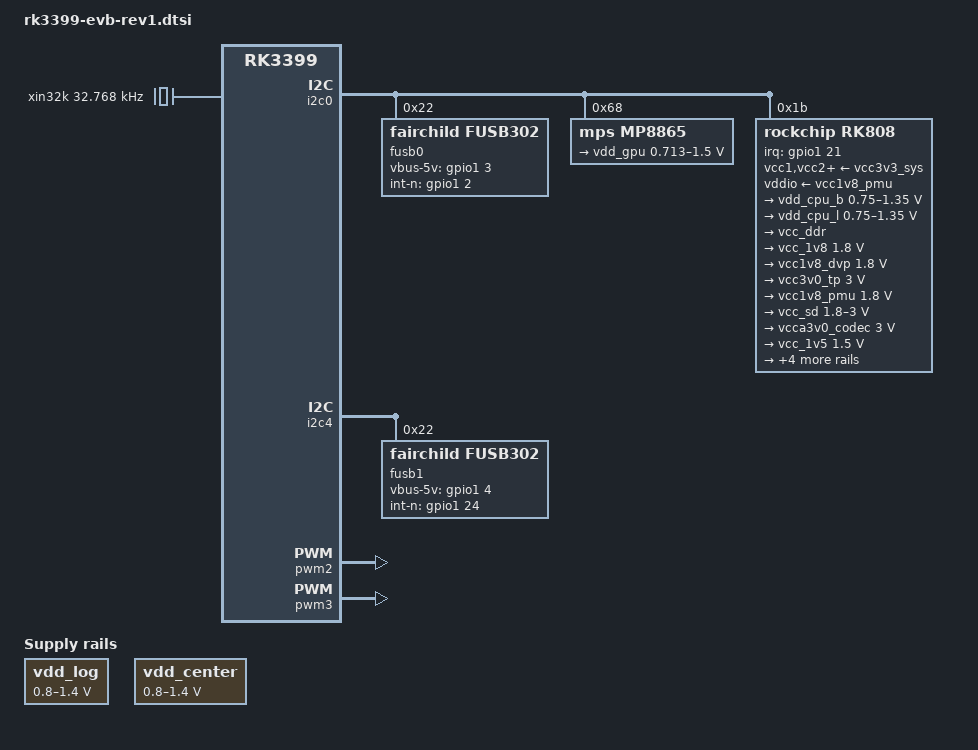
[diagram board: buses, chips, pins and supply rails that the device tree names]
// SPDX-License-Identifier: (GPL-2.0+ OR MIT)
/*
 * Copyright (c) 2022 Rockchip Electronics Co., Ltd.
 *
 */

#include "rk3399-evb.dtsi"
#include "rk3399-early-opp.dtsi"

/ {
	compatible = "rockchip,rk3399-evb-rev1", "rockchip,rk3399";

	vdd_log: vdd-log {
		compatible = "pwm-regulator";
		rockchip,pwm_id = <2>;
		rockchip,pwm_voltage = <900000>;
		pwms = <&pwm2 0 25000 1>;
		regulator-name = "vdd_log";
		regulator-min-microvolt = <800000>;
		regulator-max-microvolt = <1400000>;
		regulator-always-on;
		regulator-boot-on;
	};

	vdd_center: vdd-center {
		compatible = "pwm-regulator";
		rockchip,pwm_id = <3>;
		rockchip,pwm_voltage = <900000>;
		pwms = <&pwm3 0 25000 1>;
		regulator-name = "vdd_center";
		regulator-min-microvolt = <800000>;
		regulator-max-microvolt = <1400000>;
		regulator-always-on;
		regulator-boot-on;
	};

	xin32k: xin32k {
		compatible = "fixed-clock";
		clock-frequency = <32768>;
		clock-output-names = "xin32k";
		#clock-cells = <0>;
	};
};

&cpu_l0 {
	dynamic-power-coefficient = <121>;
};

&cpu_b0 {
	dynamic-power-coefficient = <1068>;
};

&soc_thermal {
	sustainable-power = <1600>; /* milliwatts */

	cooling-maps {
		map0 {
			trip = <&target>;
			cooling-device =
				<&cpu_l0 THERMAL_NO_LIMIT THERMAL_NO_LIMIT>;
			contribution = <10240>;
		};
		map1 {
			trip = <&target>;
			cooling-device =
				<&cpu_b0 THERMAL_NO_LIMIT THERMAL_NO_LIMIT>;
			contribution = <1024>;
		};
		map2 {
			trip = <&target>;
			cooling-device =
				<&gpu THERMAL_NO_LIMIT THERMAL_NO_LIMIT>;
			contribution = <10240>;
		};
	};
};

&gpu_power_model {
	dynamic-power = <1780>;
};

&i2c0 {
	fusb0: fusb30x@22 {
		compatible = "fairchild,fusb302";
		reg = <0x22>;
		pinctrl-names = "default";
		pinctrl-0 = <&fusb0_int>;
		vbus-5v-gpios = <&gpio1 3 GPIO_ACTIVE_HIGH>;
		int-n-gpios = <&gpio1 2 GPIO_ACTIVE_HIGH>;
		status = "okay";
	};

	mp8865: mp8865@68 {
		compatible = "mps,mp8865";
		reg = <0x68>;
		regulators {
			vdd_gpu: mp8865_dcdc1 {
				regulator-name = "vdd_gpu";
				regulator-min-microvolt = <712500>;
				regulator-max-microvolt = <1500000>;
				regulator-ramp-delay = <8000>;
				regulator-always-on;
				regulator-boot-on;
			};
		};
	};

	rk808: pmic@1b {
		compatible = "rockchip,rk808";
		reg = <0x1b>;
		interrupt-parent = <&gpio1>;
		interrupts = <21 IRQ_TYPE_LEVEL_LOW>;
		pinctrl-names = "default";
		pinctrl-0 = <&pmic_int_l &pmic_dvs2>;
		rockchip,system-power-controller;
		wakeup-source;
		#clock-cells = <1>;
		clock-output-names = "rk808-clkout1", "rk808-clkout2";

		vcc1-supply = <&vcc3v3_sys>;
		vcc2-supply = <&vcc3v3_sys>;
		vcc3-supply = <&vcc3v3_sys>;
		vcc4-supply = <&vcc3v3_sys>;
		vcc6-supply = <&vcc3v3_sys>;
		vcc7-supply = <&vcc3v3_sys>;
		vcc8-supply = <&vcc3v3_sys>;
		vcc9-supply = <&vcc3v3_sys>;
		vcc10-supply = <&vcc3v3_sys>;
		vcc11-supply = <&vcc3v3_sys>;
		vcc12-supply = <&vcc3v3_sys>;
		vddio-supply = <&vcc1v8_pmu>;

		regulators {
			vdd_cpu_b: DCDC_REG1 {
				regulator-always-on;
				regulator-boot-on;
				regulator-min-microvolt = <750000>;
				regulator-max-microvolt = <1350000>;
				regulator-ramp-delay = <6001>;
				regulator-name = "vdd_cpu_b";
				regulator-state-mem {
					regulator-off-in-suspend;
				};
			};

			vdd_cpu_l: DCDC_REG2 {
				regulator-always-on;
				regulator-boot-on;
				regulator-min-microvolt = <750000>;
				regulator-max-microvolt = <1350000>;
				regulator-ramp-delay = <6001>;
				regulator-name = "vdd_cpu_l";
				regulator-state-mem {
					regulator-off-in-suspend;
				};
			};

			vcc_ddr: DCDC_REG3 {
				regulator-always-on;
				regulator-boot-on;
				regulator-name = "vcc_ddr";
				regulator-state-mem {
					regulator-on-in-suspend;
				};
			};

			vcc_1v8: DCDC_REG4 {
				regulator-always-on;
				regulator-boot-on;
				regulator-min-microvolt = <1800000>;
				regulator-max-microvolt = <1800000>;
				regulator-name = "vcc_1v8";
				regulator-state-mem {
					regulator-on-in-suspend;
					regulator-suspend-microvolt = <1800000>;
				};
			};

			vcc1v8_dvp: LDO_REG1 {
				regulator-always-on;
				regulator-boot-on;
				regulator-min-microvolt = <1800000>;
				regulator-max-microvolt = <1800000>;
				regulator-name = "vcc1v8_dvp";
				regulator-state-mem {
					regulator-on-in-suspend;
					regulator-suspend-microvolt = <1800000>;
				};
			};

			vcc3v0_tp: LDO_REG2 {
				regulator-always-on;
				regulator-boot-on;
				regulator-min-microvolt = <3000000>;
				regulator-max-microvolt = <3000000>;
				regulator-name = "vcc3v0_tp";
				regulator-state-mem {
					regulator-off-in-suspend;
				};
			};

			vcc1v8_pmu: LDO_REG3 {
				regulator-always-on;
				regulator-boot-on;
				regulator-min-microvolt = <1800000>;
				regulator-max-microvolt = <1800000>;
				regulator-name = "vcc1v8_pmu";
				regulator-state-mem {
					regulator-on-in-suspend;
					regulator-suspend-microvolt = <1800000>;
				};
			};

			vcc_sd: LDO_REG4 {
				regulator-always-on;
				regulator-boot-on;
				regulator-min-microvolt = <1800000>;
				regulator-max-microvolt = <3000000>;
				regulator-name = "vcc_sd";
				regulator-state-mem {
					regulator-on-in-suspend;
					regulator-suspend-microvolt = <3000000>;
				};
			};

			vcca3v0_codec: LDO_REG5 {
				regulator-always-on;
				regulator-boot-on;
				regulator-min-microvolt = <3000000>;
				regulator-max-microvolt = <3000000>;
				regulator-name = "vcca3v0_codec";
				regulator-state-mem {
					regulator-on-in-suspend;
					regulator-suspend-microvolt = <3000000>;
				};
			};

			vcc_1v5: LDO_REG6 {
				regulator-always-on;
				regulator-boot-on;
				regulator-min-microvolt = <1500000>;
				regulator-max-microvolt = <1500000>;
				regulator-name = "vcc_1v5";
				regulator-state-mem {
					regulator-on-in-suspend;
					regulator-suspend-microvolt = <1500000>;
				};
			};

			vcca1v8_codec: LDO_REG7 {
				regulator-always-on;
				regulator-boot-on;
				regulator-min-microvolt = <1800000>;
				regulator-max-microvolt = <1800000>;
				regulator-name = "vcca1v8_codec";
				regulator-state-mem {
					regulator-on-in-suspend;
					regulator-suspend-microvolt = <1800000>;
				};
			};

			vcc_3v0: LDO_REG8 {
				regulator-always-on;
				regulator-boot-on;
				regulator-min-microvolt = <3000000>;
				regulator-max-microvolt = <3000000>;
				regulator-name = "vcc_3v0";
				regulator-state-mem {
					regulator-on-in-suspend;
					regulator-suspend-microvolt = <3000000>;
				};
			};

			vcc3v3_s3: SWITCH_REG1 {
				regulator-always-on;
				regulator-boot-on;
				regulator-name = "vcc3v3_s3";
				regulator-state-mem {
					regulator-on-in-suspend;
				};
			};

			vcc3v3_s0: SWITCH_REG2 {
				regulator-always-on;
				regulator-boot-on;
				regulator-name = "vcc3v3_s0";
				regulator-state-mem {
					regulator-on-in-suspend;
				};
			};
		};
	};
};

&i2c4 {
	fusb1: fusb30x@22 {
		compatible = "fairchild,fusb302";
		reg = <0x22>;
		pinctrl-names = "default";
		pinctrl-0 = <&fusb1_int>;
		vbus-5v-gpios = <&gpio1 4 GPIO_ACTIVE_HIGH>;
		int-n-gpios = <&gpio1 24 GPIO_ACTIVE_HIGH>;
	};
};

&pwm2 {
	status = "okay";
};

&pwm3 {
	status = "okay";
};

&u2phy0_otg {
	rockchip,utmi-avalid;
};
